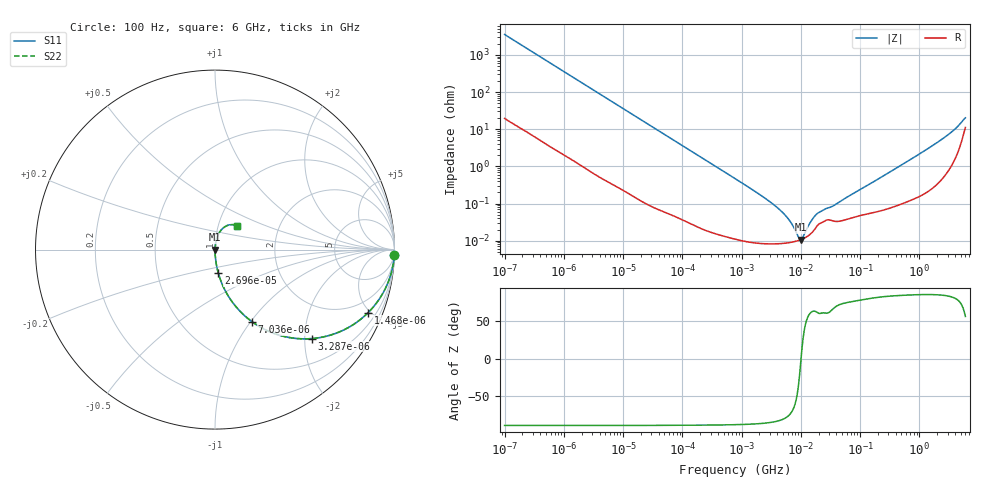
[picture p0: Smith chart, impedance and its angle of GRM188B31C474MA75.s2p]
!Murata Part Number: GRM188B31C474MA75
!These Parameters are Measured in Series Mode Connection
!Data Generated on Mar 30, 2021
!  o--ll--o
!Port1  Port2
!  o------o
!Operation Temp=25[degC], DC Bias Voltage=0[V]
!Freq. Start=100[Hz] Stop=6[GHz] 401[Steps]
# Hz S RI R 50
!Freq.(Hz) S11(Real) S11(Imag) S21(Real) S21(Imag) S12(Real) S12(Imag) S22(Real) S22(Imag)
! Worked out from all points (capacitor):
!   401 points, 100 Hz to 6 GHz, reference 50 ohm
!   read as one part in series: C = 451 nF near 109 Hz
!   lowest |Z| = 10.7 mohm at 9.942 MHz (marker M1)
!   series resonance near 10.09 MHz, so ESL is about 550 pH
!   S11 on the Smith chart (normalised r, x): 100 Hz: 1, -71; 1.468 kHz: 1.03, -4.85; 3.287 kHz: 1.01, -2.17; 7.036 kHz: 1.01, -1.02; 26.96 kHz: 1.00, -0.27; 6 GHz: 1.22, +0.34
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100  0.999 -0.0283  0.000959 0.0283  0.000959 0.0283  0.999 -0.0283
438  0.9843 -0.1216  0.0157 0.1216  0.0157 0.1216  0.9843 -0.1216
1468  0.8533 -0.351  0.1467 0.351  0.1467 0.351  0.8533 -0.351
2008  0.7578 -0.4256  0.2422 0.4256  0.2422 0.4256  0.7578 -0.4256
3287  0.5411 -0.4955  0.4589 0.4955  0.4589 0.4955  0.5411 -0.4955
7036  0.2071 -0.4022  0.7929 0.4022  0.7929 0.4022  0.2071 -0.4022
12592  0.0765 -0.2627  0.9235 0.2627  0.9235 0.2627  0.0765 -0.2627
26957  0.0184 -0.1309  0.9816 0.1309  0.9816 0.1309  0.0184 -0.1309
40335  0.00857 -0.0885  0.9914 0.0885  0.9914 0.0885  0.00857 -0.0885
774597  0.000132 -0.0047  0.9999 0.0047  0.9999 0.0047  0.000132 -0.0047
4440638  8.37e-05 -0.000669  0.9999 0.000669  0.9999 0.000669  8.37e-05 -0.000669
6353432  8.86e-05 -0.000351  0.9999 0.000351  0.9999 0.000351  8.86e-05 -0.000351
9090158  0.000101 -7.69e-05  0.9999 7.69e-05  0.9999 7.69e-05  0.000101 -7.69e-05
9941735  0.000106 -1.11e-05  0.9999 1.11e-05  0.9999 1.11e-05  0.000106 -1.11e-05
1.087309e7  0.000113 5.49e-05  0.9999 -5.49e-05  0.9999 -5.49e-05  0.000113 5.49e-05
1.555665e7  0.000168 0.000332  0.9998 -0.000332  0.9998 -0.000332  0.000168 0.000332
2.035112e7  0.000283 0.000504  0.9997 -0.000504  0.9997 -0.000504  0.000283 0.000504
3.64232e7  0.000335 0.000827  0.9997 -0.000827  0.9997 -0.000827  0.000335 0.000827
3.124326e8  0.00079 0.00687  0.9992 -0.00687  0.9992 -0.00687  0.00079 0.00687
2.240541e9  0.00633 0.0488  0.9937 -0.0488  0.9937 -0.0488  0.00633 0.0488
4.193612e9  0.0288 0.1016  0.9712 -0.1016  0.9712 -0.1016  0.0288 0.1016
6e9  0.1202 0.1334  0.8798 -0.1334  0.8798 -0.1334  0.1202 0.1334
